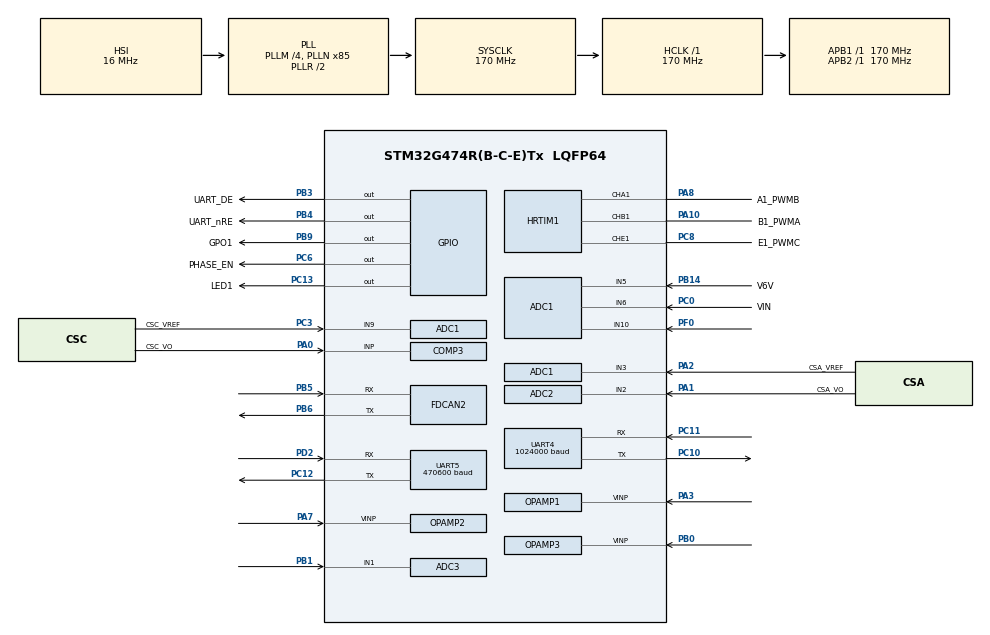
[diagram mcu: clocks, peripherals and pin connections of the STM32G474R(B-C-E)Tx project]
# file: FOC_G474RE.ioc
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ADC1.Channel-0\#ChannelRegularConversion=ADC_CHANNEL_3
ADC1.Channel-1\#ChannelRegularConversion=ADC_CHANNEL_9
ADC1.ClockPrescaler=ADC_CLOCK_SYNC_PCLK_DIV4
ADC1.ContinuousConvMode=DISABLE
ADC1.DMAContinuousRequests=ENABLE
ADC1.EOCSelection=ADC_EOC_SINGLE_CONV
ADC1.ExternalTrigConv=ADC_EXTERNALTRIG_HRTIM_TRG1
ADC1.NbrOfConversion=2
ADC1.NbrOfConversionFlag=1
ADC1.OffsetNumber-0\#ChannelRegularConversion=ADC_OFFSET_NONE
ADC1.OffsetNumber-1\#ChannelRegularConversion=ADC_OFFSET_NONE
ADC1.Overrun=ADC_OVR_DATA_OVERWRITTEN
ADC1.OversamplingMode=DISABLE
ADC1.Rank-0\#ChannelRegularConversion=1
ADC1.Rank-1\#ChannelRegularConversion=2
ADC1.SamplingTime-0\#ChannelRegularConversion=ADC_SAMPLETIME_2CYCLES_5
ADC1.SamplingTime-1\#ChannelRegularConversion=ADC_SAMPLETIME_2CYCLES_5
ADC1.master=1
ADC2.Channel-0\#ChannelRegularConversion=ADC_CHANNEL_2
ADC2.Channel-1\#ChannelRegularConversion=ADC_CHANNEL_1
ADC2.DMAContinuousRequests=ENABLE
ADC2.EnableInjectedConversion=ENABLE
ADC2.EnableInjectedOversampling=ENABLE
ADC2.ExternalTrigConv=ADC_EXTERNALTRIG_HRTIM_TRG1
ADC2.ExternalTrigInjecConv=ADC_EXTERNALTRIGINJEC_HRTIM_TRG2
ADC2.InjNumberOfConversion=1
ADC2.InjOversamplingRatio=ADC_OVERSAMPLING_RATIO_16
ADC2.InjOversamplingRightShift=ADC_RIGHTBITSHIFT_4
ADC2.InjectedChannel-2\#ChannelInjectedConversion=ADC_CHANNEL_1
ADC2.InjectedOffsetNumber-2\#ChannelInjectedConversion=ADC_OFFSET_NONE
ADC2.InjectedRank-2\#ChannelInjectedConversion=1
ADC2.InjectedSamplingTime-2\#ChannelInjectedConversion=ADC_SAMPLETIME_2CYCLES_5
ADC2.NbrOfConversion=2
ADC2.NbrOfConversionFlag=1
ADC2.OffsetNumber-0\#ChannelRegularConversion=ADC_OFFSET_NONE
ADC2.OffsetNumber-1\#ChannelRegularConversion=ADC_OFFSET_NONE
ADC2.Overrun=ADC_OVR_DATA_OVERWRITTEN
ADC2.OversamplingMode=DISABLE
ADC2.Rank-0\#ChannelRegularConversion=1
ADC2.Rank-1\#ChannelRegularConversion=2
ADC2.Rank1_Channel=ADC_CHANNEL_1
ADC2.SamplingTime-0\#ChannelRegularConversion=ADC_SAMPLETIME_2CYCLES_5
ADC2.SamplingTime-1\#ChannelRegularConversion=ADC_SAMPLETIME_2CYCLES_5
ADC3.Channel-0\#ChannelRegularConversion=ADC_CHANNEL_VOPAMP3_ADC3
ADC3.NbrOfConversionFlag=1
ADC3.OffsetNumber-0\#ChannelRegularConversion=ADC_OFFSET_NONE
ADC3.Rank-0\#ChannelRegularConversion=1
ADC3.SamplingTime-0\#ChannelRegularConversion=ADC_SAMPLETIME_2CYCLES_5
ADC3.master=1
DAC3.DAC_Channel-DAC_OUT2_Int=DAC_CHANNEL_2
Dma.ADC1.1.Direction=DMA_PERIPH_TO_MEMORY
Dma.ADC1.1.EventEnable=DISABLE
Dma.ADC1.1.Instance=DMA1_Channel2
Dma.ADC1.1.MemDataAlignment=DMA_MDATAALIGN_HALFWORD
Dma.ADC1.1.MemInc=DMA_MINC_ENABLE
Dma.ADC1.1.Mode=DMA_CIRCULAR
Dma.ADC1.1.PeriphDataAlignment=DMA_PDATAALIGN_HALFWORD
Dma.ADC1.1.PeriphInc=DMA_PINC_DISABLE
Dma.ADC1.1.Polarity=HAL_DMAMUX_REQ_GEN_RISING
Dma.ADC1.1.Priority=DMA_PRIORITY_HIGH
Dma.ADC1.1.RequestNumber=1
Dma.ADC1.1.SignalID=NONE
Dma.ADC1.1.SyncEnable=DISABLE
Dma.ADC1.1.SyncPolarity=HAL_DMAMUX_SYNC_NO_EVENT
Dma.ADC1.1.SyncRequestNumber=1
Dma.ADC1.1.SyncSignalID=NONE
Dma.ADC2.0.Direction=DMA_PERIPH_TO_MEMORY
Dma.ADC2.0.EventEnable=DISABLE
Dma.ADC2.0.Instance=DMA1_Channel1
Dma.ADC2.0.MemDataAlignment=DMA_MDATAALIGN_HALFWORD
Dma.ADC2.0.MemInc=DMA_MINC_ENABLE
Dma.ADC2.0.Mode=DMA_CIRCULAR
Dma.ADC2.0.PeriphDataAlignment=DMA_PDATAALIGN_HALFWORD
Dma.ADC2.0.PeriphInc=DMA_PINC_DISABLE
Dma.ADC2.0.Polarity=HAL_DMAMUX_REQ_GEN_RISING
Dma.ADC2.0.Priority=DMA_PRIORITY_HIGH
Dma.ADC2.0.RequestNumber=1
Dma.ADC2.0.SignalID=NONE
Dma.ADC2.0.SyncEnable=DISABLE
Dma.ADC2.0.SyncPolarity=HAL_DMAMUX_SYNC_NO_EVENT
Dma.ADC2.0.SyncRequestNumber=1
Dma.ADC2.0.SyncSignalID=NONE
Dma.Request0=ADC2
Dma.Request1=ADC1
Dma.Request2=UART5_RX
Dma.UART5_RX.2.Direction=DMA_PERIPH_TO_MEMORY
Dma.UART5_RX.2.EventEnable=DISABLE
Dma.UART5_RX.2.Instance=DMA1_Channel3
Dma.UART5_RX.2.MemDataAlignment=DMA_MDATAALIGN_BYTE
Dma.UART5_RX.2.MemInc=DMA_MINC_ENABLE
Dma.UART5_RX.2.Mode=DMA_CIRCULAR
Dma.UART5_RX.2.PeriphDataAlignment=DMA_PDATAALIGN_BYTE
Dma.UART5_RX.2.PeriphInc=DMA_PINC_DISABLE
Dma.UART5_RX.2.Polarity=HAL_DMAMUX_REQ_GEN_RISING
Dma.UART5_RX.2.Priority=DMA_PRIORITY_LOW
Dma.UART5_RX.2.RequestNumber=1
Dma.UART5_RX.2.SignalID=NONE
Dma.UART5_RX.2.SyncEnable=DISABLE
Dma.UART5_RX.2.SyncPolarity=HAL_DMAMUX_SYNC_NO_EVENT
Dma.UART5_RX.2.SyncRequestNumber=1
Dma.UART5_RX.2.SyncSignalID=NONE
FDCAN2.CalculateBaudRateNominal=3541666
FDCAN2.CalculateTimeBitNominal=282
FDCAN2.CalculateTimeQuantumNominal=94.11764705882354
HRTIM1.ADCTrigger1_Source1=HRTIM_ADCTRIGGEREVENT13_MASTER_CMP1
HRTIM1.ADCTrigger2_Source1=HRTIM_ADCTRIGGEREVENT24_MASTER_PERIOD
HRTIM1.ADCTrigger_Id1=HRTIM_ADCTRIGGER_1
HRTIM1.ADCTrigger_Id2=HRTIM_ADCTRIGGER_2
HRTIM1.CompareUnit1-MasterTimer=HRTIM_COMPAREUNIT_1
HRTIM1.CompareUnit1-Output_TA1=HRTIM_COMPAREUNIT_1
HRTIM1.CompareUnit1-Output_TB1=HRTIM_COMPAREUNIT_1
HRTIM1.CompareUnit1-Output_TE1=HRTIM_COMPAREUNIT_1
HRTIM1.CompareUnit2-Output_TE1=HRTIM_COMPAREUNIT_2
HRTIM1.CompareUnit3-Output_TE1=HRTIM_COMPAREUNIT_3
HRTIM1.CompareValue1-Output_TA1=10000
HRTIM1.CompareValue1-Output_TB1=10000
HRTIM1.CompareValue1-Output_TE1=10000
HRTIM1.CompareValue2-Output_TE1=20000
HRTIM1.CompareValue3-Output_TE1=30000
HRTIM1.Event_EEV1=__NULL
HRTIM1.InterleavedMode-MasterTimer=HRTIM_INTERLEAVED_MODE_DUAL
HRTIM1.InterruptRequests1_Master=HRTIM_MASTER_IT_MUPD
HRTIM1.ModeTimeBase-Output_TA1=HRTIM_MODE_CONTINUOUS
HRTIM1.ModeTimeBase-Output_TB1=HRTIM_MODE_CONTINUOUS
HRTIM1.ModeTimeBase-Output_TE1=HRTIM_MODE_CONTINUOUS
HRTIM1.NumberADCTriggerSource1=1
HRTIM1.NumberADCTriggerSource2=1
HRTIM1.NumberInterruptRequests_Master-MasterTimer=1
HRTIM1.NumberResetSource1-Output_TA1=1
HRTIM1.NumberResetSource1-Output_TB1=1
HRTIM1.NumberResetSource1-Output_TE1=2
HRTIM1.NumberResetTrigger-Output_TA1=0
HRTIM1.NumberResetTrigger-Output_TB1=0
HRTIM1.NumberResetTrigger-Output_TE1=0
HRTIM1.NumberSetSource1-Output_TA1=1
HRTIM1.NumberSetSource1-Output_TB1=1
HRTIM1.NumberSetSource1-Output_TE1=2
HRTIM1.NumberUpdateTrigger-Output_TA1=0
HRTIM1.Periode_MASTER=0xFFFF-1
HRTIM1.Periode_TA=0xFFFF-1
HRTIM1.Periode_TB=0xFFFF-1
HRTIM1.Periode_TE=0xFFFF-1
HRTIM1.Polarity1-Output_TA1=HRTIM_OUTPUTPOLARITY_HIGH
HRTIM1.Polarity1-Output_TB1=HRTIM_OUTPUTPOLARITY_HIGH
HRTIM1.Polarity1-Output_TE1=HRTIM_OUTPUTPOLARITY_HIGH
HRTIM1.PreloadEnable-MasterTimer=HRTIM_PRELOAD_ENABLED
HRTIM1.PreloadEnable-Output_TA1=HRTIM_PRELOAD_ENABLED
HRTIM1.PreloadEnable-Output_TB1=HRTIM_PRELOAD_ENABLED
HRTIM1.PreloadEnable-Output_TE1=HRTIM_PRELOAD_ENABLED
HRTIM1.PrescalerRatio_MASTER=HRTIM_PRESCALERRATIO_MUL8
HRTIM1.PrescalerRatio_TA=HRTIM_PRESCALERRATIO_MUL16
HRTIM1.PrescalerRatio_TB=HRTIM_PRESCALERRATIO_MUL16
HRTIM1.PrescalerRatio_TE=HRTIM_PRESCALERRATIO_MUL16
HRTIM1.RepetitionUpdate-MasterTimer=HRTIM_UPDATEONREPETITION_ENABLED
HRTIM1.RepetitionUpdate-Output_TA1=HRTIM_UPDATEONREPETITION_ENABLED
HRTIM1.RepetitionUpdate-Output_TB1=HRTIM_UPDATEONREPETITION_ENABLED
HRTIM1.RepetitionUpdate-Output_TE1=HRTIM_UPDATEONREPETITION_ENABLED
HRTIM1.ResetOutput1_Source1-Output_TA1=HRTIM_OUTPUTRESET_TIMCMP1
HRTIM1.ResetOutput1_Source1-Output_TB1=HRTIM_OUTPUTRESET_TIMCMP1
HRTIM1.ResetOutput1_Source1-Output_TE1=HRTIM_OUTPUTRESET_TIMCMP1
HRTIM1.ResetOutput1_Source2-Output_TE1=HRTIM_OUTPUTRESET_TIMCMP3
HRTIM1.ResetUpdate-Output_TA1=HRTIM_TIMUPDATEONRESET_DISABLED
HRTIM1.ResetUpdate-Output_TB1=HRTIM_TIMUPDATEONRESET_DISABLED
HRTIM1.ResetUpdate-Output_TE1=HRTIM_TIMUPDATEONRESET_DISABLED
HRTIM1.SetOutput1_Source1-Output_TA1=HRTIM_OUTPUTSET_TIMCMP1
HRTIM1.SetOutput1_Source1-Output_TB1=HRTIM_OUTPUTSET_TIMCMP1
HRTIM1.SetOutput1_Source1-Output_TE1=HRTIM_OUTPUTSET_TIMPER
HRTIM1.SetOutput1_Source2-Output_TE1=HRTIM_OUTPUTSET_TIMCMP2
HRTIM1.UpDownMode-Output_TA1=HRTIM_TIMERUPDOWNMODE_UPDOWN
HRTIM1.UpDownMode-Output_TB1=HRTIM_TIMERUPDOWNMODE_UPDOWN
HRTIM1.UpDownMode-Output_TE1=HRTIM_TIMERUPDOWNMODE_UPDOWN
HRTIM1.postscaler1=0x1
Mcu.Family=STM32G4
Mcu.Name=STM32G474R(B-C-E)Tx
Mcu.Package=LQFP64
NVIC.HRTIM1_Master_IRQn=true\:1\:0\:true\:false\:true\:true\:false\:true
NVIC.PriorityGroup=NVIC_PRIORITYGROUP_4
PA0.GPIO_Label=CSC_VO
PA0.Signal=SharedAnalog_PA0
PA1.GPIO_Label=CSA_VO
PA1.Mode=IN2-Single-Ended
PA1.Signal=ADC2_IN2
PA10.GPIO_Label=B1_PWMA
PA10.Mode=Output_TB1
PA10.Signal=HRTIM1_CHB1
PA13.Mode=Serial_Wire
PA13.Signal=SYS_JTMS-SWDIO
PA14.Mode=Serial_Wire
PA14.Signal=SYS_JTCK-SWCLK
PA2.GPIO_Label=CSA_VREF
PA2.Mode=IN3-Single-Ended
PA2.Signal=ADC1_IN3
PA3.Mode=Follower_Internally_Connected
PA3.Signal=OPAMP1_VINP
PA7.Mode=Follower_Internally_Connected
PA7.Signal=OPAMP2_VINP
PA8.GPIO_Label=A1_PWMB
PA8.Mode=Output_TA1
PA8.Signal=HRTIM1_CHA1
PB0.Mode=Follower_Internally_Connected
PB0.Signal=OPAMP3_VINP
PB1.Mode=IN1-Single-Ended
PB1.Signal=ADC3_IN1
PB14.GPIO_Label=V6V
PB14.Mode=IN5-Single-Ended
PB14.Signal=ADC1_IN5
PB3.GPIO_Label=UART_DE
PB3.Signal=GPIO_Output
PB4.GPIO_Label=UART_nRE
PB4.Signal=GPIO_Output
PB5.Mode=FDCAN_Activate
PB5.Signal=FDCAN2_RX
PB6.Mode=FDCAN_Activate
PB6.Signal=FDCAN2_TX
PB9.GPIO_Label=GPO1
PB9.Signal=GPIO_Output
PC0.GPIO_Label=VIN
PC0.Mode=IN6-Single-Ended
PC0.Signal=ADC1_IN6
PC10.Mode=Asynchronous
PC10.Signal=UART4_TX
PC11.Mode=Asynchronous
PC11.Signal=UART4_RX
PC12.Mode=Asynchronous
PC12.Signal=UART5_TX
PC13.GPIO_Label=LED1
PC13.Signal=GPIO_Output
PC3.GPIO_Label=CSC_VREF
PC3.Mode=IN9-Single-Ended
PC3.Signal=ADC1_IN9
PC6.GPIO_Label=PHASE_EN
PC6.Signal=GPIO_Output
PC8.GPIO_Label=E1_PWMC
PC8.Mode=Output_TE1
PC8.Signal=HRTIM1_CHE1
PD2.Mode=Asynchronous
PD2.Signal=UART5_RX
PF0-OSC_IN.Mode=IN10-Single-Ended
PF0-OSC_IN.Signal=ADC1_IN10
ProjectManager.HeapSize=0x200
ProjectManager.StackSize=0x400
ProjectManager.TargetToolchain=CMake
RCC.ADC12CLockSelection=RCC_ADC12CLKSOURCE_PLL
RCC.ADC12Freq_Value=85000000
RCC.ADC345Freq_Value=170000000
RCC.AHBFreq_Value=170000000
RCC.APB1Freq_Value=170000000
RCC.APB1TimFreq_Value=170000000
RCC.APB2Freq_Value=170000000
RCC.APB2TimFreq_Value=170000000
RCC.CK48CLockSelection=RCC_USBCLKSOURCE_HSI48
RCC.CortexFreq_Value=170000000
RCC.EXTERNAL_CLOCK_VALUE=12288000
RCC.HCLKFreq_Value=170000000
RCC.HSE_VALUE=8000000
RCC.HSI48_VALUE=48000000
RCC.HSI_VALUE=16000000
RCC.LSE_VALUE=32768
RCC.PLLM=RCC_PLLM_DIV4
RCC.PLLN=85
RCC.PLLP=RCC_PLLP_DIV4
RCC.SYSCLKFreq_VALUE=170000000
RCC.SYSCLKSource=RCC_SYSCLKSOURCE_PLLCLK
RCC.USBFreq_Value=48000000
RCC.VCOOutputFreq_Value=340000000
SH.SharedAnalog_PA0.0=COMP3_INP,INP
SH.SharedAnalog_PA0.1=ADC2_IN1,IN1-Single-Ended
UART4.BaudRate=1024000
UART4.Mode=MODE_TX
UART5.AutoBaudRateEnableParam=UART_ADVFEATURE_AUTOBAUDRATE_DISABLE
UART5.BaudRate=470600
UART5.Mode=MODE_TX_RX
VP_ADC1_OPAMP_INTERNAL1.Mode=IN-OPAMP1
VP_ADC2_OPAMP_INTERNAL2.Mode=IN-OPAMP2
VP_ADC3_OPAMP_INTERNAL3.Mode=IN-OPAMP3
VP_COMP3_VS_DAC3OUT1.Mode=INM_DAC3OUT1
VP_DAC3_VS_DACI1.Mode=DAC_OUT1_Int
VP_DAC3_VS_DACI2.Mode=DAC_OUT2_Int
VP_HRTIM1_VS_hrtimMasterTimerNoOutput.Mode=MasterTimer
VP_SYS_VS_DBSignals.Mode=DisableDeadBatterySignals
board=custom

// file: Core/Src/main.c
/* USER CODE BEGIN Header */
/**
  ******************************************************************************
  * @file           : main.c
  * @brief          : Main program body
  ******************************************************************************
  * @attention
  *
  * Copyright (c) 2026 STMicroelectronics.
  * All rights reserved.
  *
  * This software is licensed under terms that can be found in the LICENSE file
  * in the root directory of this software component.
  * If no LICENSE file comes with this software, it is provided AS-IS.
  *
  ******************************************************************************
  */
/* USER CODE END Header */
#include "main.h"
#include "adc.h"
#include "comp.h"
#include "dac.h"
#include "dma.h"
#include "fdcan.h"
#include "hrtim.h"
#include "opamp.h"
#include "usart.h"
#include "gpio.h"

/* USER CODE BEGIN Includes */
#include "calibration.h"
#include "retarget.h"
#include "motor_interface.h"
#include "foc.h"
#include "stm32g4xx_hal_hrtim.h"
#include "stm32g4xx_ll_gpio.h"
/* USER CODE END Includes */

void SystemClock_Config(void);

/* USER CODE BEGIN 0 */
void start_hrtim(void)
{
  HAL_HRTIM_WaveformCounterStart_IT(&hhrtim1, HRTIM_TIMERID_MASTER);
  HAL_HRTIM_WaveformCounterStart(&hhrtim1, HRTIM_TIMERID_TIMER_A | HRTIM_TIMERID_TIMER_B | HRTIM_TIMERID_TIMER_E);
  HAL_HRTIM_WaveformOutputStart(&hhrtim1, HRTIM_OUTPUT_TA1 | HRTIM_OUTPUT_TB1 | HRTIM_OUTPUT_TE1);
}

void start_adc(void)
{
  HAL_ADCEx_Calibration_Start(&hadc1, ADC_SINGLE_ENDED);
  HAL_ADCEx_Calibration_Start(&hadc2, ADC_SINGLE_ENDED);

  HAL_ADC_Start_DMA(&hadc1, (uint32_t*)current_ref_buf, 2);
  HAL_ADC_Start_DMA(&hadc2, (uint32_t*)current_buf, 2);
}
/* USER CODE END 0 */

int main(void)
{

  /* MCU Configuration--------------------------------------------------------*/

  /* Reset of all peripherals, Initializes the Flash interface and the Systick. */
  HAL_Init();

  /* Configure the system clock */
  SystemClock_Config();

  /* Initialize all configured peripherals */
  MX_GPIO_Init();
  MX_DMA_Init();
  MX_ADC1_Init();
  MX_ADC2_Init();
  MX_ADC3_Init();
  MX_COMP3_Init();
  MX_DAC3_Init();
  MX_FDCAN2_Init();
  MX_HRTIM1_Init();
  MX_OPAMP1_Init();
  MX_OPAMP2_Init();
  MX_OPAMP3_Init();
  MX_UART4_Init();
  MX_UART5_Init();
  /* USER CODE BEGIN 2 */
  motor_interface_init();
  start_adc();
  mc_init();
  start_hrtim();
  LL_GPIO_SetOutputPin(PHASE_EN_GPIO_Port, PHASE_EN_Pin);
  HAL_Delay(1);
  mc.cmd.iq_ref = 0.5f;
  mc.mode = MC_DISABLED;

  // motor_interface_set_reverse(1);

  // calibrate(1.6, 30);
  // calibrate_clear();
  // calibrate_offset(1.6, 256 ,500);
  // motor_interface_set_offset(12329);
  // motor_interface_save_calibration();

  /* USER CODE END 2 */

  /* Infinite loop */
  /* USER CODE BEGIN WHILE */
  while (1)
  {
    printf("EL_Pos: %5u EL_Rad: %.2f Raw: %5u \r\n",
      motor_interface_get_position(),
      motor_interface_get_position_rad(),
      motor_interface_get_position_raw()
      );
    //
    // printf("Ia: %.3f Ib: %.3f Ic: %.3f \r\n",
    //   phase_currents.i_a,
    //   phase_currents.i_b,
    //   phase_currents.i_c
    //   );
    /* USER CODE END WHILE */

    /* USER CODE BEGIN 3 */
    float U_mag = sqrtf(mc.dq.id*mc.dq.id + mc.dq.iq*mc.dq.iq);
    printf("UD: %3.2f ID: %3.2f UQ: %3.2f IQ: %3.2f UMAG: %3.2f | TH: %3.2f W: %3.1f G: %3.2f\r\n",
           mc.cmd.ud, mc.dq.id, mc.cmd.uq, mc.dq.iq, U_mag,
           mc.observer.theta_est, mc.observer.omega_est, mc.observer.correction_gain);

    // el_angle = el_angle + angled;
    // if (el_angle > PI2_F)
    // {
    //   el_angle -= PI2_F;
    // }
    // LL_GPIO_TogglePin(LED1_GPIO_Port, LED1_Pin);
    // foc_cmd.ud = 1.0f;
    // el_angle = motor_interface_get_position_rad();
    // el_angle = 0;
    // OpenLoopStep();

    // LL_GPIO_TogglePin(GPO1_GPIO_Port, GPO1_Pin);
    HAL_Delay(100);
  }
  /* USER CODE END 3 */
}

void SystemClock_Config(void)
{
  RCC_OscInitTypeDef RCC_OscInitStruct = {0};
  RCC_ClkInitTypeDef RCC_ClkInitStruct = {0};

  /** Configure the main internal regulator output voltage
  */
  HAL_PWREx_ControlVoltageScaling(PWR_REGULATOR_VOLTAGE_SCALE1_BOOST);

  /** Initializes the RCC Oscillators according to the specified parameters
  * in the RCC_OscInitTypeDef structure.
  */
  RCC_OscInitStruct.OscillatorType = RCC_OSCILLATORTYPE_HSI;
  RCC_OscInitStruct.HSIState = RCC_HSI_ON;
  RCC_OscInitStruct.HSICalibrationValue = RCC_HSICALIBRATION_DEFAULT;
  RCC_OscInitStruct.PLL.PLLState = RCC_PLL_ON;
  RCC_OscInitStruct.PLL.PLLSource = RCC_PLLSOURCE_HSI;
  RCC_OscInitStruct.PLL.PLLM = RCC_PLLM_DIV4;
  RCC_OscInitStruct.PLL.PLLN = 85;
  RCC_OscInitStruct.PLL.PLLP = RCC_PLLP_DIV4;
  RCC_OscInitStruct.PLL.PLLQ = RCC_PLLQ_DIV2;
  RCC_OscInitStruct.PLL.PLLR = RCC_PLLR_DIV2;
  if (HAL_RCC_OscConfig(&RCC_OscInitStruct) != HAL_OK)
  {
    Error_Handler();
  }

  /** Initializes the CPU, AHB and APB buses clocks
  */
  RCC_ClkInitStruct.ClockType = RCC_CLOCKTYPE_HCLK|RCC_CLOCKTYPE_SYSCLK
                              |RCC_CLOCKTYPE_PCLK1|RCC_CLOCKTYPE_PCLK2;
  RCC_ClkInitStruct.SYSCLKSource = RCC_SYSCLKSOURCE_PLLCLK;
  RCC_ClkInitStruct.AHBCLKDivider = RCC_SYSCLK_DIV1;
  RCC_ClkInitStruct.APB1CLKDivider = RCC_HCLK_DIV1;
  RCC_ClkInitStruct.APB2CLKDivider = RCC_HCLK_DIV1;

  if (HAL_RCC_ClockConfig(&RCC_ClkInitStruct, FLASH_LATENCY_4) != HAL_OK)
  {
    Error_Handler();
  }
}

/* USER CODE BEGIN 4 */
// void HAL_UART_RxCpltCallback(UART_HandleTypeDef *huart)
// {
//   motor_interface_process_rx_callback(huart);
// }

/* USER CODE END 4 */

void Error_Handler(void)
{
  __disable_irq();
  while (1)
  {
  }
}
